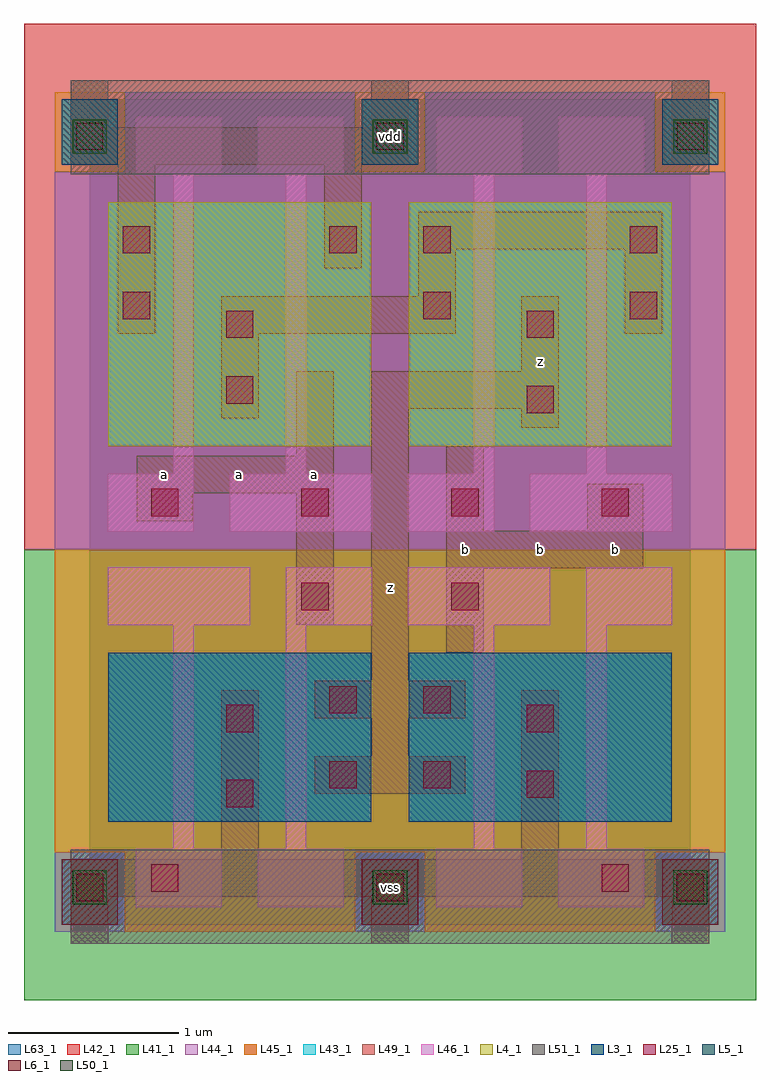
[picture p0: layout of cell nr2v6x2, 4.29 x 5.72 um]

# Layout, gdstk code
import gdstk
lib = gdstk.Library(unit=1e-6, precision=1e-09)
def R(c, l, rs):  # rectangles x0, y0, x1, y1
    for r in rs: c.add(gdstk.rectangle(r[:2], r[2:], *l))
def A(c, l, x, y, w, h, nx, ny, dx, dy):  # array of equal rectangles
    R(c, l, [(x+i*dx, y+j*dy, x+i*dx+w, y+j*dy+h) for i in range(nx) for j in range(ny)])
L3_1 = (3, 1)
L4_1 = (4, 1)
L5_1 = (5, 1)
L6_1 = (6, 1)
L25_1 = (25, 1)
L41_1 = (41, 1)
L42_1 = (42, 1)
L43_1 = (43, 1)
L44_1 = (44, 1)
L45_1 = (45, 1)
L46_1 = (46, 1)
L49_1 = (49, 1)
L50_1 = (50, 1)
L51_1 = (51, 1)
L63_1 = (63, 1)

nr2v6x2 = lib.new_cell('nr2v6x2')
R(nr2v6x2, L3_1, [(0.11,0.605,1.65,1.595), (1.87,0.605,3.41,1.595)])
R(nr2v6x2, L4_1, [(0.11,2.805,1.65,4.235), (1.87,2.805,3.41,4.235)])
A(nr2v6x2, L5_1, -0.165, 4.455, 0.33, 0.385, 3, 1, 1.76, 0)
A(nr2v6x2, L6_1, -0.165, 0, 0.33, 0.385, 3, 1, 1.76, 0)
A(nr2v6x2, L25_1, -0.08, 0.14, 0.16, 0.16, 3, 2, 1.76, 4.4)
A(nr2v6x2, L25_1, 0.36, 2.395, 0.16, 0.16, 4, 1, 0.88, 0)
R(nr2v6x2, L25_1, [(0.36,0.195,0.52,0.355), (3,0.195,3.16,0.355), (0.8,0.69,0.96,0.85), (2.56,0.745,2.72,0.905), (1.405,0.8,1.565,0.96), (1.955,0.8,2.115,0.96), (0.8,1.13,0.96,1.29), (2.56,1.13,2.72,1.29), (1.405,1.24,1.565,1.4), (1.955,1.24,2.115,1.4), (1.24,1.845,1.4,2.005), (2.12,1.845,2.28,2.005), (2.56,3,2.72,3.16), (0.8,3.055,0.96,3.215), (0.8,3.44,0.96,3.6), (2.56,3.44,2.72,3.6), (0.195,3.55,0.355,3.71), (1.955,3.55,2.115,3.71), (3.165,3.55,3.325,3.71), (0.195,3.935,0.355,4.095), (1.405,3.935,1.565,4.095), (1.955,3.935,2.115,4.095), (3.165,3.935,3.325,4.095)])
R(nr2v6x2, L41_1, [(-0.385,-0.44,3.905,2.2)])
R(nr2v6x2, L42_1, [(-0.385,2.2,3.905,5.28)])
A(nr2v6x2, L43_1, -0.165, 0, 0.33, 0.385, 3, 2, 1.76, 4.455)
R(nr2v6x2, L43_1, [(0.11,0.605,1.65,1.595), (1.87,0.605,3.41,1.595), (0.11,2.805,1.65,4.235), (1.87,2.805,3.41,4.235)])
A(nr2v6x2, L44_1, -0.205, -0.04, 0.41, 0.465, 3, 1, 1.76, 0)
R(nr2v6x2, L44_1, [(-0.205,2.2,3.725,4.415), (0.205,4.415,1.555,4.88), (1.965,4.415,3.315,4.88)])
A(nr2v6x2, L45_1, -0.205, 4.415, 0.41, 0.465, 3, 1, 1.76, 0)
R(nr2v6x2, L45_1, [(0.205,-0.04,1.555,0.425), (1.965,-0.04,3.315,0.425), (-0.205,0.425,3.725,2.2)])
R(nr2v6x2, L46_1, [(0.27,0.105,0.775,0.445), (0.985,0.105,1.49,0.445), (2.03,0.105,2.535,0.445), (2.745,0.105,3.25,0.445), (0.49,0.445,0.61,1.755), (1.15,0.445,1.27,1.755), (2.25,0.445,2.37,1.755), (2.91,0.445,3.03,1.755), (0.105,1.755,0.94,2.095), (1.15,1.755,1.655,2.095), (1.865,1.755,2.7,2.095), (2.91,1.755,3.415,2.095), (0.105,2.305,0.61,2.645), (0.82,2.305,1.655,2.645), (1.865,2.305,2.37,2.645), (2.58,2.305,3.415,2.645), (0.49,2.645,0.61,4.395), (1.15,2.645,1.27,4.395), (2.25,2.645,2.37,4.395), (2.91,2.645,3.03,4.395), (0.27,4.395,0.775,4.735), (0.985,4.395,1.49,4.735), (2.03,4.395,2.535,4.735), (2.745,4.395,3.25,4.735)])
A(nr2v6x2, L49_1, -0.11, -0.11, 0.22, 0.275, 3, 1, 1.76, 0)
R(nr2v6x2, L49_1, [(-0.11,0.165,3.63,0.385), (0.77,0.385,0.99,1.375), (2.53,0.385,2.75,1.375), (1.32,0.77,2.2,0.99), (1.65,0.99,1.87,1.21), (1.32,1.21,2.2,1.43), (1.65,1.43,1.87,3.025), (2.09,1.595,2.31,2.09), (1.21,1.76,1.43,2.53), (2.09,2.09,3.245,2.31), (2.09,2.31,2.31,2.805), (2.915,2.31,3.245,2.585), (0.275,2.365,0.605,2.53), (0.275,2.53,1.43,2.75), (1.21,2.75,1.43,3.245), (2.53,2.915,2.75,3.025), (0.77,2.97,0.99,3.465), (1.65,3.025,2.75,3.245), (2.53,3.245,2.75,3.685), (0.165,3.465,0.385,4.455), (0.77,3.465,2.145,3.685), (3.135,3.465,3.355,3.96), (1.925,3.685,2.145,3.96), (1.375,3.85,1.595,4.455), (1.925,3.96,3.355,4.18), (-0.11,4.455,1.87,4.675), (3.41,4.455,3.63,4.95), (-0.11,4.675,0.11,4.95), (1.65,4.675,1.87,4.95)])
A(nr2v6x2, L50_1, -0.1, 0.12, 0.2, 0.2, 3, 2, 1.76, 4.4)
R(nr2v6x2, L51_1, [(-0.11,-0.11,3.63,0.44), (-0.11,4.4,3.63,4.95)])
R(nr2v6x2, L63_1, [(0,0,3.52,4.84)])
nr2v6x2.add(gdstk.Label('a', (0.44,2.64), layer=49, texttype=1))
nr2v6x2.add(gdstk.Label('a', (1.32,2.64), layer=49, texttype=1))
nr2v6x2.add(gdstk.Label('a', (0.88,2.64), layer=49, texttype=1))
nr2v6x2.add(gdstk.Label('z', (1.76,1.98), layer=49, texttype=1))
nr2v6x2.add(gdstk.Label('b', (2.2,2.2), layer=49, texttype=1))
nr2v6x2.add(gdstk.Label('b', (2.64,2.2), layer=49, texttype=1))
nr2v6x2.add(gdstk.Label('b', (3.08,2.2), layer=49, texttype=1))
nr2v6x2.add(gdstk.Label('z', (2.64,3.3), layer=49, texttype=1))
nr2v6x2.add(gdstk.Label('vss', (1.76,0.22), layer=51, texttype=1))
nr2v6x2.add(gdstk.Label('vdd', (1.76,4.62), layer=51, texttype=1))

lib.write_gds('nr2v6x2.gds')
